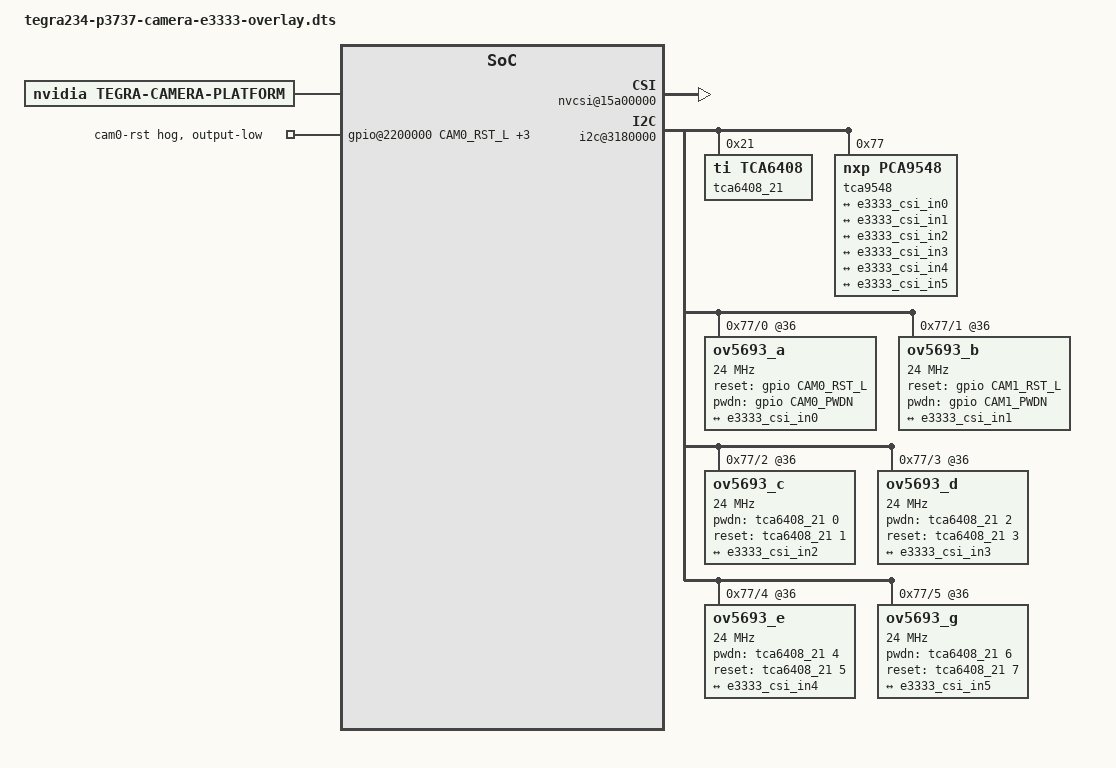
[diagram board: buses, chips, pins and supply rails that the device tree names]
// SPDX-License-Identifier: GPL-2.0-only
// SPDX-FileCopyrightText: Copyright (c) 2015-2023, NVIDIA CORPORATION & AFFILIATES.  All rights reserved.

/dts-v1/;
/plugin/;

#include <dt-bindings/clock/tegra234-clock.h>
#include <dt-bindings/gpio/tegra234-gpio.h>
#include <dt-bindings/tegra234-p3737-0000+p3701-0000.h>

#define CAM0_RST_L	TEGRA234_MAIN_GPIO(H, 3)
#define CAM0_PWDN	TEGRA234_MAIN_GPIO(H, 6)
#define CAM1_RST_L	TEGRA234_MAIN_GPIO(AC, 1)
#define CAM1_PWDN	TEGRA234_MAIN_GPIO(AC, 0)

/ {
	overlay-name = "Jetson Camera E3333 module";
	jetson-header-name = "Jetson AGX CSI Connector";
	compatible = JETSON_COMPATIBLE;

	fragment@0 {
		target-path = "/";

		board_config {
			ids = "3333-*";
			sw-modules = "kernel";
		};

		__overlay__ {
			tegra-capture-vi {
				num-channels = <6>;
				ports {
					status = "okay";
					port@0 {
						status = "okay";
						endpoint {
							status = "okay";
							port-index = <0>;
							bus-width = <2>;
							remote-endpoint = <&e3333_csi_out0>;
						};
					};
					port@1 {
						status = "okay";
						endpoint {
							status = "okay";
							port-index = <1>;
							bus-width = <2>;
							remote-endpoint = <&e3333_csi_out1>;
						};
					};
					port@2 {
						status = "okay";
						endpoint {
							status = "okay";
							port-index = <2>;
							bus-width = <2>;
							remote-endpoint = <&e3333_csi_out2>;
						};
					};
					port@3 {
						status = "okay";
						endpoint {
							status = "okay";
							port-index = <3>;
							bus-width = <2>;
							remote-endpoint = <&e3333_csi_out3>;
						};
					};
					port@4 {
						status = "okay";
						endpoint {
							status = "okay";
							port-index = <4>;
							bus-width = <2>;
							remote-endpoint = <&e3333_csi_out4>;
						};
					};
					port@5 {
						status = "okay";
						endpoint {
							status = "okay";
							port-index = <5>;
							bus-width = <2>;
							remote-endpoint = <&e3333_csi_out5>;
						};
					};
				};
			};
			tegra-camera-platform {
				compatible = "nvidia, tegra-camera-platform";
				modules {
					module0 {
						badge = "e3333_bottomleft_P5V27C";
						position = "bottomleft";
						orientation = "1";
						drivernode0 {
							pcl_id = "v4l2_sensor";
							sysfs-device-tree = "/sys/firmware/devicetree/base/bus@0/i2c@3180000/tca9548@77/i2c@0/ov5693_a@36";
						};
						drivernode1 {
							pcl_id = "v4l2_lens";
							sysfs-device-tree = "/sys/firmware/devicetree/base/e3333_lens_ov5693@P5V27C/";
						};
					};
					module1 {
						badge = "e3333_centerleft_P5V27C";
						position = "centerleft";
						orientation = "1";
						drivernode0 {
							pcl_id = "v4l2_sensor";
							sysfs-device-tree = "/sys/firmware/devicetree/base/bus@0/i2c@3180000/tca9548@77/i2c@1/ov5693_b@36";
						};
						drivernode1 {
							pcl_id = "v4l2_lens";
							sysfs-device-tree = "/sys/firmware/devicetree/base/e3333_lens_ov5693@P5V27C/";
						};
					};
					module2 {
						badge = "e3333_centerright_P5V27C";
						position = "centerright";
						orientation = "1";
						drivernode0 {
							pcl_id = "v4l2_sensor";
							sysfs-device-tree = "/sys/firmware/devicetree/base/bus@0/i2c@3180000/tca9548@77/i2c@2/ov5693_c@36";
						};
						drivernode1 {
							pcl_id = "v4l2_lens";
							sysfs-device-tree = "/sys/firmware/devicetree/base/e3333_lens_ov5693@P5V27C/";
						};
					};
					module3 {
						badge = "e3333_topleft_P5V27C";
						position = "topleft";
						orientation = "1";
						drivernode0 {
							pcl_id = "v4l2_sensor";
							sysfs-device-tree = "/sys/firmware/devicetree/base/bus@0/i2c@3180000/tca9548@77/i2c@3/ov5693_d@36";
						};
						drivernode1 {
							pcl_id = "v4l2_lens";
							sysfs-device-tree = "/sys/firmware/devicetree/base/e3333_lens_ov5693@P5V27C/";
						};
					};
					module4 {
						badge = "e3333_bottomright_P5V27C";
						position = "bottomright";
						orientation = "1";
						drivernode0 {
							pcl_id = "v4l2_sensor";
							sysfs-device-tree = "/sys/firmware/devicetree/base/bus@0/i2c@3180000/tca9548@77/i2c@4/ov5693_e@36";
						};
						drivernode1 {
							pcl_id = "v4l2_lens";
							sysfs-device-tree = "/sys/firmware/devicetree/base/e3333_lens_ov5693@P5V27C/";
						};
					};
					module5 {
						badge = "e3333_topright_P5V27C";
						position = "topright";
						orientation = "1";
						drivernode0 {
							pcl_id = "v4l2_sensor";
							sysfs-device-tree = "/sys/firmware/devicetree/base/bus@0/i2c@3180000/tca9548@77/i2c@5/ov5693_g@36";
						};
						drivernode1 {
							pcl_id = "v4l2_lens";
							sysfs-device-tree = "/sys/firmware/devicetree/base/e3333_lens_ov5693@P5V27C/";
						};
					};
				};
			};
			e3333_lens_ov5693@P5V27C {
				status = "okay";
				min_focus_distance = "0.0";
				hyper_focal = "0.0";
				focal_length = "2.67";
				f_number = "2.0";
				aperture = "2.0";
			};
			bus@0 {
				host1x@13e00000 {
					nvcsi@15a00000 {
						num-channels = <6>;
						status = "okay";
						channel@0 {
							status = "okay";
							ports {
								status = "okay";
								port@0 {
									status = "okay";
									endpoint@0 {
										status = "okay";
										port-index = <0>;
										bus-width = <2>;
										remote-endpoint = <&e3333_ov5693_out0>;
									};
								};
								port@1 {
									status = "okay";
									endpoint@1 {
										status = "okay";
										remote-endpoint = <&e3333_vi_in0>;
									};
								};
							};
						};
						channel@1 {
							status = "okay";
							ports {
								status = "okay";
								port@0 {
									status = "okay";
									endpoint@2 {
										status = "okay";
										port-index = <1>;
										bus-width = <2>;
										remote-endpoint = <&e3333_ov5693_out1>;
									};
								};
								port@1 {
									status = "okay";
									endpoint@3 {
										status = "okay";
										remote-endpoint = <&e3333_vi_in1>;
									};
								};
							};
						};
						channel@2 {
							status = "okay";
							ports {
								status = "okay";
								port@0 {
									status = "okay";
									endpoint@4 {
										status = "okay";
										port-index = <2>;
										bus-width = <2>;
										remote-endpoint = <&e3333_ov5693_out2>;
									};
								};
								port@1 {
									status = "okay";
									endpoint@5 {
										status = "okay";
										remote-endpoint = <&e3333_vi_in2>;
									};
								};
							};
						};
						channel@3 {
							status = "okay";
							ports {
								status = "okay";
								port@0 {
									status = "okay";
									endpoint@6 {
										status = "okay";
										port-index = <3>;
										bus-width = <2>;
										remote-endpoint = <&e3333_ov5693_out3>;
									};
								};
								port@1 {
									status = "okay";
									endpoint@7 {
										status = "okay";
										remote-endpoint = <&e3333_vi_in3>;
									};
								};
							};
						};
						channel@4 {
							status = "okay";
							ports {
								status = "okay";
								port@0 {
									status = "okay";
									endpoint@8 {
										status = "okay";
										port-index = <4>;
										bus-width = <2>;
										remote-endpoint = <&e3333_ov5693_out4>;
									};
								};
								port@1 {
									status = "okay";
									endpoint@9 {
										status = "okay";
										remote-endpoint = <&e3333_vi_in4>;
									};
								};
							};
						};
						channel@5 {
							status = "okay";
							ports {
								status = "okay";
								port@0 {
									status = "okay";
									endpoint@10 {
										status = "okay";
										port-index = <6>;
										bus-width = <2>;
										remote-endpoint = <&e3333_ov5693_out5>;
									};
								};
								port@1 {
									status = "okay";
									endpoint@11 {
										status = "okay";
										remote-endpoint = <&e3333_vi_in5>;
									};
								};
							};
						};
					};
				};

				gpio@2200000 {
					camera-control-output-low {
						gpio-hog;
						output-low;
						gpios = <CAM0_RST_L 0 CAM0_PWDN 0
							CAM1_RST_L 0 CAM1_PWDN 0>;
						label = "cam0-rst", "cam0-pwdn",
							"cam1-rst", "cam1-pwdn";
					};
				};

				i2c@3180000 {
					tca6408_21: tca6408@21 {
						status = "okay";
						compatible = "ti,tca6408";
						gpio-controller;
						#gpio-cells = <2>;
						reg = <0x21>;
						tca6408_21_outlow {
							gpio-hog;
							gpios = <0 0 1 0 2 0 3 0 4 0 5 0 6 0 7 0>;
							output-low;
							label = "tca6408_21_outlow_0",
								"tca6408_21_outlow_1",
								"tca6408_21_outlow_2",
								"tca6408_21_outlow_3",
								"tca6408_21_outlow_4",
								"tca6408_21_outlow_5",
								"tca6408_21_outlow_6",
								"tca6408_21_outlow_7";
							status = "okay";
						};
					};

					tca9548@77 {
						status = "okay";
						compatible = "nxp,pca9548";
						reg = <0x77>;
						#address-cells = <1>;
						#size-cells = <0>;
						skip_mux_detect;
						i2c@0 {
							reg = <0>;
							i2c-mux,deselect-on-exit;
							#address-cells = <1>;
							#size-cells = <0>;
							ov5693_a@36 {
								status = "okay";
								clocks = <&bpmp TEGRA234_CLK_EXTPERIPH1>,
										<&bpmp TEGRA234_CLK_PLLP_OUT0>;
								clock-names = "extperiph1", "pllp_grtba";
								mclk = "extperiph1";
								clock-frequency = <24000000>;
								reset-gpios = <&gpio CAM0_RST_L GPIO_ACTIVE_HIGH>;
								pwdn-gpios = <&gpio CAM0_PWDN GPIO_ACTIVE_HIGH>;
								ports {
									status = "okay";
									port@0 {
										status = "okay";
										endpoint {
											status = "okay";
											port-index = <0>;
											bus-width = <2>;
											remote-endpoint = <&e3333_csi_in0>;
										};
									};
								};
							};
						};
						i2c@1 {
							reg = <1>;
							i2c-mux,deselect-on-exit;
							#address-cells = <1>;
							#size-cells = <0>;
							ov5693_b@36 {
								status = "okay";
								clocks = <&bpmp TEGRA234_CLK_EXTPERIPH1>,
										<&bpmp TEGRA234_CLK_PLLP_OUT0>;
								clock-names = "extperiph1", "pllp_grtba";
								mclk = "extperiph1";
								clock-frequency = <24000000>;
								reset-gpios = <&gpio CAM1_RST_L GPIO_ACTIVE_HIGH>;
								pwdn-gpios = <&gpio CAM1_PWDN GPIO_ACTIVE_HIGH>;
								ports {
									status = "okay";
									port@0 {
										status = "okay";
										endpoint {
											status = "okay";
											port-index = <1>;
											bus-width = <2>;
											remote-endpoint = <&e3333_csi_in1>;
										};
									};
								};
							};
						};
						i2c@2 {
							reg = <2>;
							i2c-mux,deselect-on-exit;
							#address-cells = <1>;
							#size-cells = <0>;
							ov5693_c@36 {
								status = "okay";
								clocks = <&bpmp TEGRA234_CLK_EXTPERIPH1>,
										<&bpmp TEGRA234_CLK_PLLP_OUT0>;
								clock-names = "extperiph1", "pllp_grtba";
								mclk = "extperiph1";
								clock-frequency = <24000000>;
								pwdn-gpios = <&tca6408_21 0 GPIO_ACTIVE_HIGH>;
								reset-gpios = <&tca6408_21 1 GPIO_ACTIVE_HIGH>;
								ports {
									status = "okay";
									port@0 {
										status = "okay";
										endpoint {
											status = "okay";
											port-index = <2>;
											bus-width = <2>;
											remote-endpoint = <&e3333_csi_in2>;
										};
									};
								};
							};
						};
						i2c@3 {
							reg = <3>;
							i2c-mux,deselect-on-exit;
							#address-cells = <1>;
							#size-cells = <0>;
							ov5693_d@36 {
								status = "okay";
								clocks = <&bpmp TEGRA234_CLK_EXTPERIPH2>,
										<&bpmp TEGRA234_CLK_PLLP_OUT0>;
								clock-names = "extperiph2", "pllp_grtba";
								mclk = "extperiph2";
								clock-frequency = <24000000>;
								pwdn-gpios = <&tca6408_21 2 GPIO_ACTIVE_HIGH>;
								reset-gpios = <&tca6408_21 3 GPIO_ACTIVE_HIGH>;
								ports {
									status = "okay";
									port@0 {
										status = "okay";
										endpoint {
											status = "okay";
											port-index = <3>;
											bus-width = <2>;
											remote-endpoint = <&e3333_csi_in3>;
										};
									};
								};
							};
						};
						i2c@4 {
							reg = <4>;
							i2c-mux,deselect-on-exit;
							#address-cells = <1>;
							#size-cells = <0>;
							ov5693_e@36 {
								status = "okay";
								clocks = <&bpmp TEGRA234_CLK_EXTPERIPH2>,
										<&bpmp TEGRA234_CLK_PLLP_OUT0>;
								clock-names = "extperiph2", "pllp_grtba";
								mclk = "extperiph2";
								clock-frequency = <24000000>;
								pwdn-gpios = <&tca6408_21 4 GPIO_ACTIVE_HIGH>;
								reset-gpios = <&tca6408_21 5 GPIO_ACTIVE_HIGH>;
								ports {
									status = "okay";
									port@0 {
										status = "okay";
										endpoint {
											status = "okay";
											port-index = <4>;
											bus-width = <2>;
											remote-endpoint = <&e3333_csi_in4>;
										};
									};
								};
							};
						};
						i2c@5 {
							reg = <5>;
							i2c-mux,deselect-on-exit;
							#address-cells = <1>;
							#size-cells = <0>;
							ov5693_g@36 {
								status = "okay";
								clocks = <&bpmp TEGRA234_CLK_EXTPERIPH2>,
										<&bpmp TEGRA234_CLK_PLLP_OUT0>;
								clock-names = "extperiph2", "pllp_grtba";
								mclk = "extperiph2";
								clock-frequency = <24000000>;
								pwdn-gpios = <&tca6408_21 6 GPIO_ACTIVE_HIGH>;
								reset-gpios = <&tca6408_21 7 GPIO_ACTIVE_HIGH>;
								ports {
									status = "okay";
									port@0 {
										status = "okay";
										endpoint {
											status = "okay";
											port-index = <5>;
											bus-width = <2>;
											remote-endpoint = <&e3333_csi_in5>;
										};
									};
								};
							};
						};
					};
				};
			};
		};
	};
};
